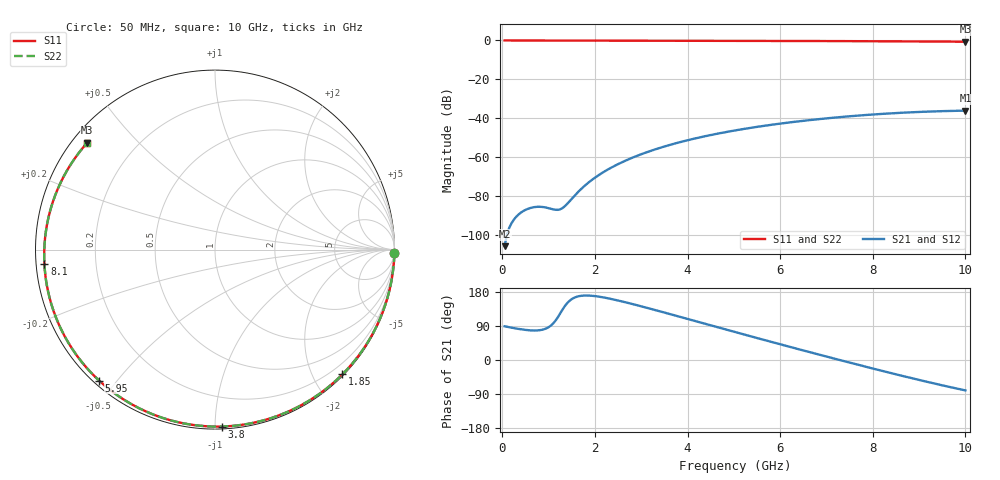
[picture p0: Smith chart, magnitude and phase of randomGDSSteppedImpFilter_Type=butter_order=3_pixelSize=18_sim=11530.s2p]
! freq	dB(S11)	phase(S11)	dB(S12)	phase(S12)
!  dB(S21)	phase(S21)	dB(S22)	phase(S22)
!S-par simulation data
#  GHz  S  DB  R 50
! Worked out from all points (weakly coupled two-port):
!   200 points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, 50 MHz to 10 GHz, reference 50 ohm
!   highest |S21| = -36.06 dB at 10 GHz (marker M1); lowest = -105.7 dB at 50 MHz (marker M2)
!   lowest |S11| = -0.7 dB at 10 GHz (marker M3), VSWR 26.73, Z = 2.12 + j18.2 ohm
!   |S11| at or under -10 dB: nowhere
!   |S22| runs from -0.6 to 0.0 dB; largest |S21 - S12| = 0
!   S11 on the Smith chart (normalised r, x): 50 MHz: 0, -93; 1.85 GHz: 0.02, -2.45; 3.8 GHz: 0.01, -1.04; 5.95 GHz: 0.02, -0.45; 8.1 GHz: 0.02, -0.04; 10 GHz: 0.04, +0.36
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0.05  -0.00 -1.2  -105.71 89.0  -105.71 89.0  -0.00 -1.2
0.4  -0.01 -9.8  -88.50 81.1  -88.50 81.1  -0.01 -9.8
0.8  -0.02 -19.5  -85.47 78.6  -85.47 78.6  -0.02 -19.5
1.55  -0.05 -37.4  -80.04 164.1  -80.04 164.1  -0.05 -37.4
1.75  -0.05 -42.1  -75.29 170.0  -75.29 170.0  -0.05 -42.1
1.85  -0.06 -44.4  -73.24 170.1  -73.24 170.1  -0.06 -44.4
2.15  -0.06 -51.3  -68.15 165.9  -68.15 165.9  -0.06 -51.3
2.5  -0.08 -59.3  -63.55 157.0  -63.55 157.0  -0.08 -59.3
2.9  -0.09 -68.2  -59.38 144.9  -59.38 144.9  -0.09 -68.2
3.4  -0.10 -79.1  -55.23 128.6  -55.23 128.6  -0.10 -79.1
3.8  -0.12 -87.7  -52.49 115.2  -52.49 115.2  -0.12 -87.7
4.4  -0.14 -100.2  -49.10 94.9  -49.10 94.9  -0.14 -100.2
5.05  -0.17 -113.5  -46.13 73.0  -46.13 73.0  -0.17 -113.5
5.95  -0.23 -131.4  -42.89 43.1  -42.89 43.1  -0.23 -131.4
6.7  -0.28 -146.4  -40.76 18.7  -40.76 18.7  -0.28 -146.4
7.4  -0.34 -160.5  -39.16 -3.7  -39.16 -3.7  -0.34 -160.5
8.1  -0.41 -175.1  -37.89 -25.6  -37.89 -25.6  -0.41 -175.1
8.35  -0.44 179.5  -37.52 -33.2  -37.52 -33.2  -0.44 179.5
8.8  -0.49 169.5  -36.95 -46.7  -36.95 -46.7  -0.49 169.5
9.2  -0.54 160.2  -36.56 -58.4  -36.56 -58.4  -0.54 160.2
9.6  -0.59 150.4  -36.26 -69.6  -36.26 -69.6  -0.59 150.4
10  -0.65 140.0  -36.06 -80.2  -36.06 -80.2  -0.65 140.0
